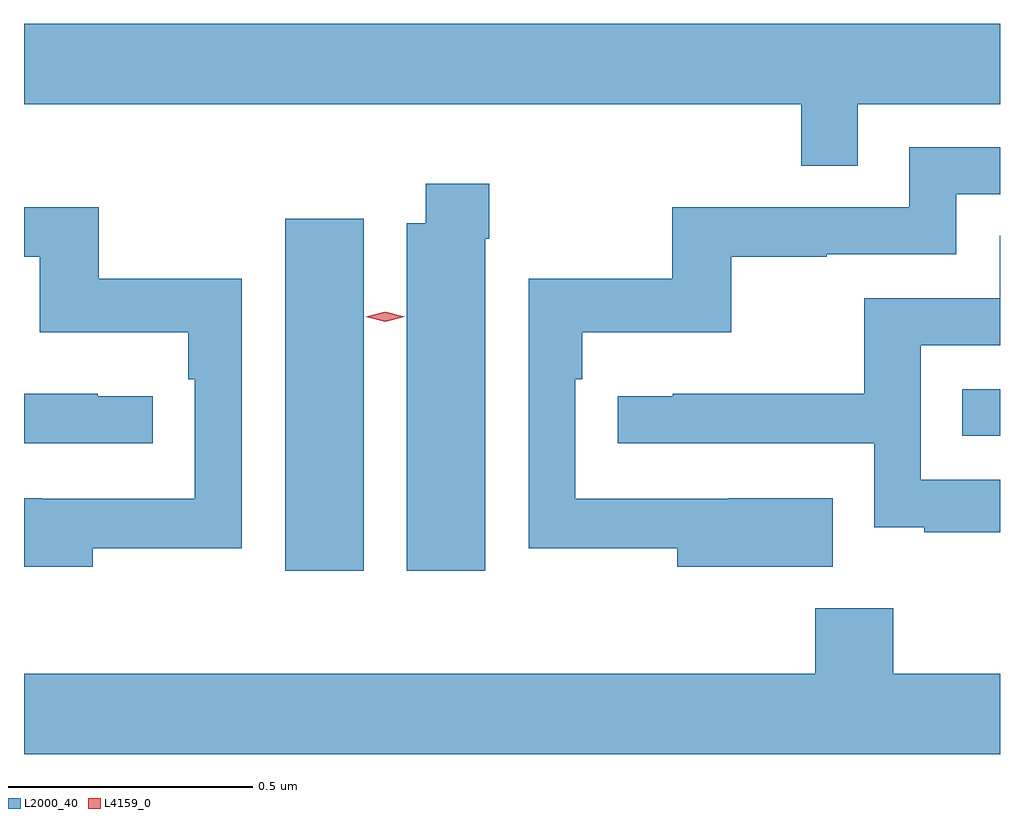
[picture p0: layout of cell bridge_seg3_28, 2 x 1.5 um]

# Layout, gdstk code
import gdstk
lib = gdstk.Library(unit=1e-6, precision=1e-09)
def R(c, l, rs):  # rectangles x0, y0, x1, y1
    for r in rs: c.add(gdstk.rectangle(r[:2], r[2:], *l))
def P(c, l, *ps):  # polygons
    for p in ps: c.add(gdstk.Polygon(p, *l))
L2000_40 = (2000, 40)
L4159_0 = (4159, 0)

bridge_seg3_28 = lib.new_cell('bridge_seg3_28')
R(bridge_seg3_28, L2000_40, [(886.163,705.288,886.324,706.009), (887.551,705.564,887.628,705.66)])
P(bridge_seg3_28, L2000_40, [(887.337,706.244),(887.628,706.244),(887.628,706.408),(885.628,706.408),(885.628,706.244),(887.221,706.244),(887.221,706.117),(887.337,706.117)],
  [(887.285,705.436),(887.071,705.436),(887.071,705.435),(886.758,705.435),(886.758,705.68),(886.772,705.68),(886.772,705.776),(887.077,705.776),(887.077,705.931),(887.273,705.931),(887.273,705.936),(887.538,705.936),(887.538,706.059),(887.628,706.059),(887.628,706.155),(887.442,706.155),(887.442,706.032),(886.956,706.032),(886.956,705.886),(886.662,705.886),(886.662,705.334),(886.967,705.334),(886.967,705.296),(887.285,705.296)],
  [(886.573,705.968),(886.581,705.968),(886.581,706.081),(886.451,706.081),(886.451,706),(886.412,706),(886.412,705.288),(886.573,705.288)],
  [(885.769,705.334),(886.074,705.334),(886.074,705.886),(885.781,705.886),(885.781,706.032),(885.628,706.032),(885.628,705.931),(885.66,705.931),(885.66,705.776),(885.965,705.776),(885.965,705.68),(885.978,705.68),(885.978,705.435),(885.665,705.435),(885.665,705.436),(885.628,705.436),(885.628,705.296),(885.769,705.296)],
  [(887.628,705.474),(887.466,705.474),(887.466,705.75),(887.628,705.75),(887.628,705.974),(887.627,705.974),(887.627,705.846),(887.35,705.846),(887.35,705.65),(886.957,705.65),(886.957,705.645),(886.845,705.645),(886.845,705.549),(887.37,705.549),(887.37,705.377),(887.473,705.377),(887.473,705.366),(887.628,705.366)],
  [(885.892,705.645),(885.779,705.645),(885.779,705.65),(885.628,705.65),(885.628,705.549),(885.892,705.549)],
  [(887.628,705.076),(887.409,705.076),(887.409,705.211),(887.249,705.211),(887.249,705.076),(885.628,705.076),(885.628,704.912),(887.628,704.912)])
P(bridge_seg3_28, L4159_0, [(886.368,705.798),(886.328,705.808),(886.328,705.808),(886.328,705.808),(886.368,705.818),(886.408,705.808),(886.408,705.808),(886.408,705.808)])

lib.write_gds('bridge_seg3_28.gds')
